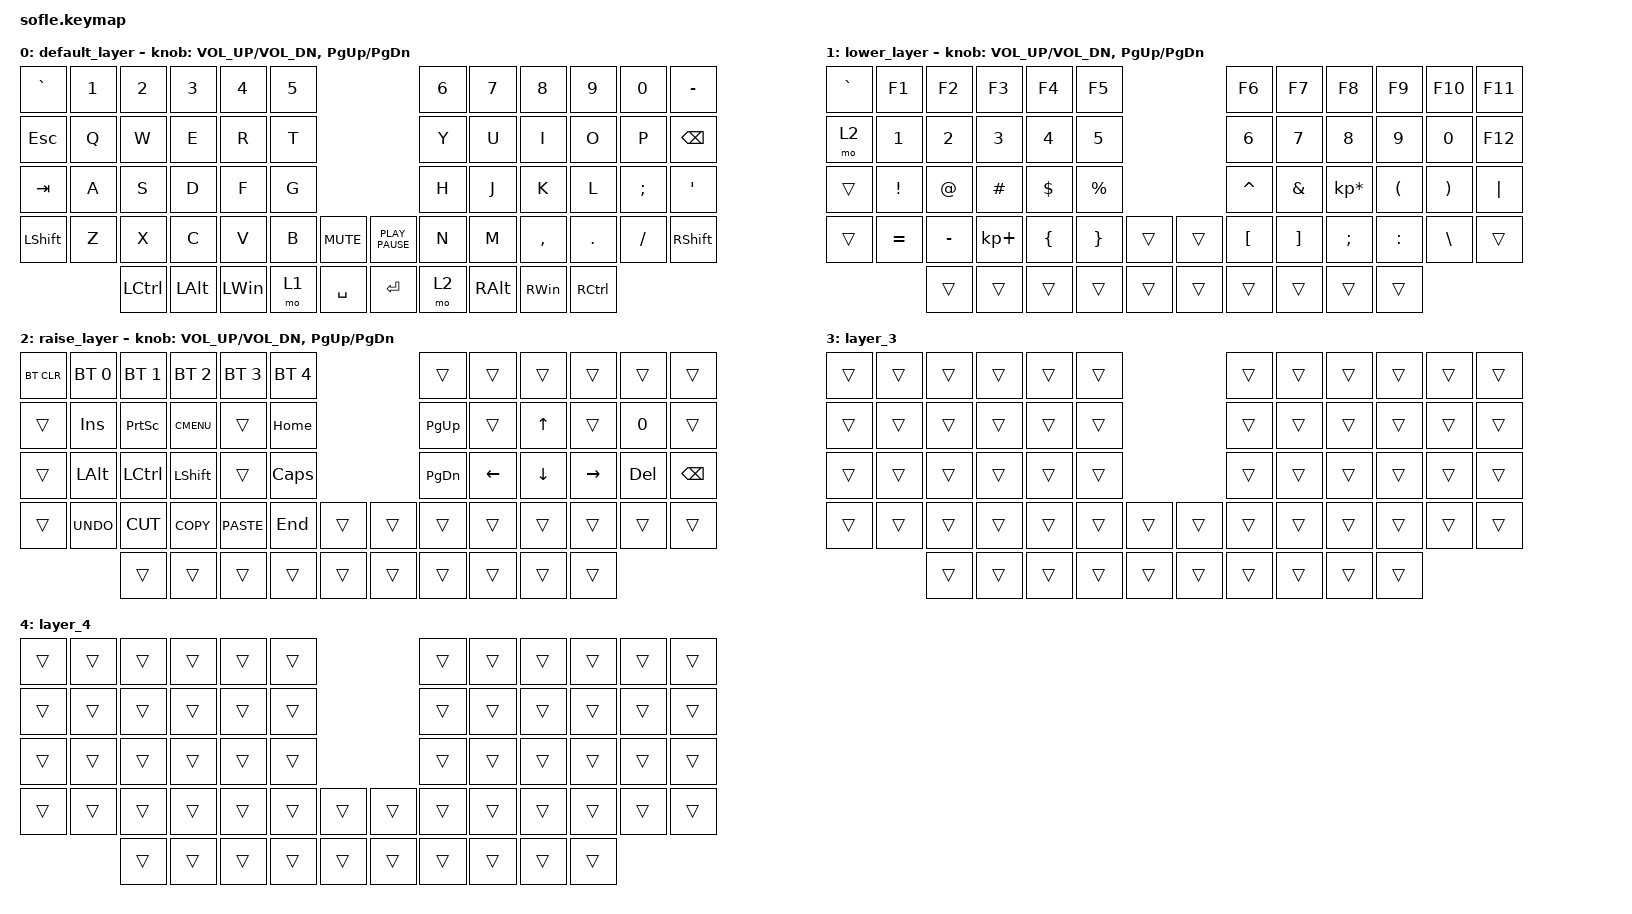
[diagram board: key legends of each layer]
/*
 * Copyright (c) 2020 The ZMK Contributors
 *
 * SPDX-License-Identifier: MIT
 */

#include <behaviors.dtsi>
#include <dt-bindings/zmk/bt.h>
#include <dt-bindings/zmk/keys.h>

/ {
    keymap {
        compatible = "zmk,keymap";

        default_layer {
            // ------------------------------------------------------------------------------------------------------------
            // |  `    |  1  |  2  |  3   |  4   |  5   |                   |  6   |  7    |  8    |  9   |   0   |       |
            // |  ESC  |  Q  |  W  |  E   |  R   |  T   |                   |  Y   |  U    |  I    |  O   |   P   | BKSPC |
            // |  TAB  |  A  |  S  |  D   |  F   |  G   |                   |  H   |  J    |  K    |  L   |   ;   |   '   |
            // | SHIFT |  Z  |  X  |  C   |  V   |  B   |  MUTE  |  |       |  N   |  M    |  ,    |  .   |   /   | SHIFT |
            //               | GUI | ALT  | CTRL | LOWER|  ENTER |  | SPACE | RAISE| CTRL  | ALT   | GUI  |

            bindings = <
&kp GRAVE  &kp N1  &kp N2            &kp N3        &kp N4        &kp N5                                  &kp N6  &kp N7         &kp N8         &kp N9             &kp N0    &kp MINUS
&kp ESC    &kp Q   &kp W             &kp E         &kp R         &kp T                                   &kp Y   &kp U          &kp I          &kp O              &kp P     &kp BSPC
&kp TAB    &kp A   &kp S             &kp D         &kp F         &kp G                                   &kp H   &kp J          &kp K          &kp L              &kp SEMI  &kp SQT
&kp LSHFT  &kp Z   &kp X             &kp C         &kp V         &kp B   &kp C_MUTE    &kp K_PLAY_PAUSE  &kp N   &kp M          &kp COMMA      &kp DOT            &kp FSLH  &kp RSHFT
                   &kp LEFT_CONTROL  &kp LEFT_ALT  &kp LEFT_WIN  &mo 1   &kp SPACE     &kp ENTER         &mo 2   &kp RIGHT_ALT  &kp RIGHT_WIN  &kp RIGHT_CONTROL
            >;

            sensor-bindings = <&inc_dec_kp C_VOL_UP C_VOL_DN &inc_dec_kp PG_UP PG_DN>;
        };

        lower_layer {
            // TODO: Some binds are waiting for shifted keycode support.
            // ------------------------------------------------------------------------------------------------------------
            // | `     |  F1 |  F2 |  F3  |  F4  |  F5  |                   |  F6  |  F7   |  F8   |  F9  |  F10  |  F11  |
            // | RAISE |   1 |   2 |   3  |   4  |   5  |                   |   6  |   7   |   8   |   9  |    0  |  F12  |
            // |       |  !  |  @  |  #   |  $   |  %   |                   |  ^   |  &    |  *    |  (   |   )   |   |   |
            // |       |  =  |  -  |  +   |  {   |  }   |        |  |       |  [   |  ]    |  ;    |  :   |   \   |       |
            //               |     |      |      |      |        |  |       |      |       |       |      |

            bindings = <
&kp GRAVE  &kp F1     &kp F2     &kp F3       &kp F4    &kp F5                       &kp F6     &kp F7    &kp F8           &kp F9     &kp F10   &kp F11
&mo 2      &kp N1     &kp N2     &kp N3       &kp N4    &kp N5                       &kp N6     &kp N7    &kp N8           &kp N9     &kp N0    &kp F12
&trans     &kp EXCL   &kp AT     &kp HASH     &kp DLLR  &kp PRCNT                    &kp CARET  &kp AMPS  &kp KP_MULTIPLY  &kp LPAR   &kp RPAR  &kp PIPE
&trans     &kp EQUAL  &kp MINUS  &kp KP_PLUS  &kp LBRC  &kp RBRC   &trans    &trans  &kp LBKT   &kp RBKT  &kp SEMI         &kp COLON  &kp BSLH  &trans
                      &trans     &trans       &trans    &trans     &trans    &trans  &trans     &trans    &trans           &trans
            >;

            sensor-bindings = <&inc_dec_kp C_VOL_UP C_VOL_DN &inc_dec_kp PG_UP PG_DN>;
        };

        raise_layer {
            // ------------------------------------------------------------------------------------------------------------
            // |BTCLR| BT1  | BT2  |  BT3  |  BT4  |  BT5 |                |      |      |       |      |       |       |
            // |     | INS  | PSCR | GUI   |       |      |                | PGUP |      |       |      |       |       |
            // |     | ALT  | CTRL | SHIFT |       | CAPS |                |  <-  |   v  |   ^   |  ->  |  DEL  | BKSPC |
            // |     | UNDO | CUT  | COPY  | PASTE |      |      |  |      |      |      |       |      |       |       |
            //              |      |       |       |      |      |  |      |      |      |       |      |

            bindings = <
&bt BT_CLR  &bt BT_SEL 0  &bt BT_SEL 1  &bt BT_SEL 2  &bt BT_SEL 3  &bt BT_SEL 4                    &trans         &trans          &trans          &trans     &trans   &trans
&trans      &kp INS       &kp PSCRN     &kp K_CMENU   &trans        &kp HOME                        &kp PG_UP      &trans          &kp UP_ARROW    &trans     &kp N0   &trans
&trans      &kp LALT      &kp LCTRL     &kp LSHFT     &trans        &kp CLCK                        &kp PAGE_DOWN  &kp LEFT_ARROW  &kp DOWN_ARROW  &kp RIGHT  &kp DEL  &kp BSPC
&trans      &kp K_UNDO    &kp K_CUT     &kp K_COPY    &kp K_PASTE   &kp END       &trans    &trans  &trans         &trans          &trans          &trans     &trans   &trans
                          &trans        &trans        &trans        &trans        &trans    &trans  &trans         &trans          &trans          &trans
            >;

            sensor-bindings = <&inc_dec_kp C_VOL_UP C_VOL_DN &inc_dec_kp PG_UP PG_DN>;
        };

        layer_3 {
            bindings = <
&trans  &trans  &trans  &trans  &trans  &trans                    &trans  &trans  &trans  &trans  &trans  &trans
&trans  &trans  &trans  &trans  &trans  &trans                    &trans  &trans  &trans  &trans  &trans  &trans
&trans  &trans  &trans  &trans  &trans  &trans                    &trans  &trans  &trans  &trans  &trans  &trans
&trans  &trans  &trans  &trans  &trans  &trans  &trans    &trans  &trans  &trans  &trans  &trans  &trans  &trans
                &trans  &trans  &trans  &trans  &trans    &trans  &trans  &trans  &trans  &trans
            >;
        };

        layer_4 {
            bindings = <
&trans  &trans  &trans  &trans  &trans  &trans                    &trans  &trans  &trans  &trans  &trans  &trans
&trans  &trans  &trans  &trans  &trans  &trans                    &trans  &trans  &trans  &trans  &trans  &trans
&trans  &trans  &trans  &trans  &trans  &trans                    &trans  &trans  &trans  &trans  &trans  &trans
&trans  &trans  &trans  &trans  &trans  &trans  &trans    &trans  &trans  &trans  &trans  &trans  &trans  &trans
                &trans  &trans  &trans  &trans  &trans    &trans  &trans  &trans  &trans  &trans
            >;
        };
    };
};
